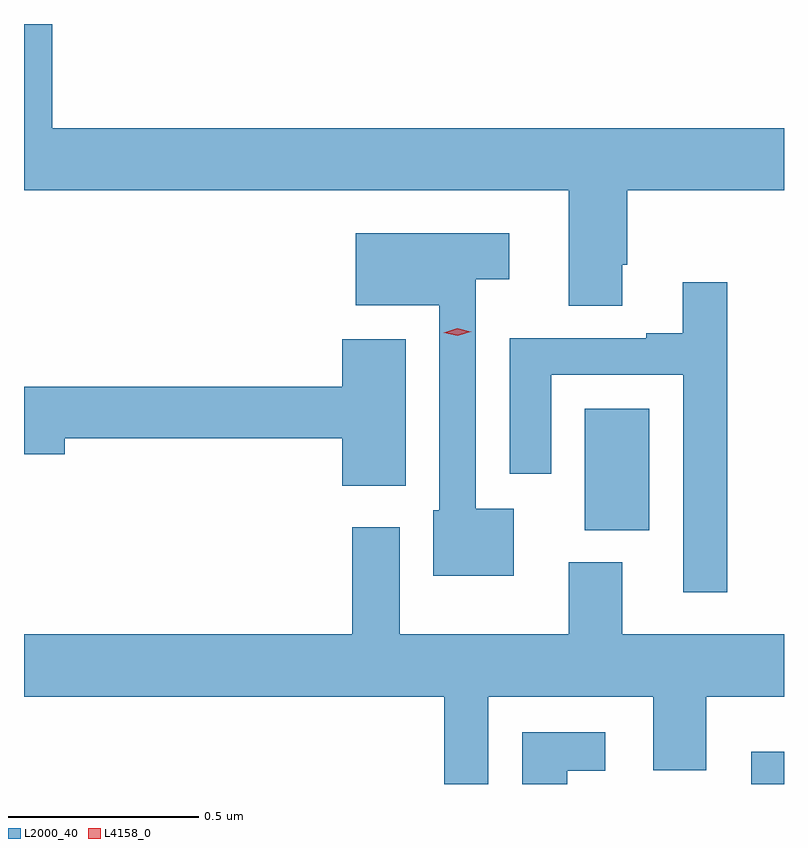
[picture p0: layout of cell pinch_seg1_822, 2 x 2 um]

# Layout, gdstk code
import gdstk
lib = gdstk.Library(unit=1e-6, precision=1e-09)
def R(c, l, rs):  # rectangles x0, y0, x1, y1
    for r in rs: c.add(gdstk.rectangle(r[:2], r[2:], *l))
def P(c, l, *ps):  # polygons
    for p in ps: c.add(gdstk.Polygon(p, *l))
L2000_40 = (2000, 40)
L4158_0 = (4158, 0)

pinch_seg1_822 = lib.new_cell('pinch_seg1_822')
R(pinch_seg1_822, L2000_40, [(409.067,576.81,409.153,576.895), (408.629,577.478,408.799,577.798)])
P(pinch_seg1_822, L2000_40, [(408.727,578.176),(408.74,578.176),(408.74,578.372),(409.153,578.372),(409.153,578.536),(407.227,578.536),(407.227,578.81),(407.153,578.81),(407.153,578.372),(408.587,578.372),(408.587,578.068),(408.727,578.068)],
  [(408.442,577.534),(408.342,577.534),(408.342,578.138),(408.43,578.138),(408.43,578.26),(408.026,578.26),(408.026,578.07),(408.246,578.07),(408.246,577.53),(408.23,577.53),(408.23,577.358),(408.442,577.358)],
  [(409.004,578.131),(408.887,578.131),(408.887,577.996),(408.791,577.996),(408.791,577.983),(408.431,577.983),(408.431,577.626),(408.541,577.626),(408.541,577.887),(408.888,577.887),(408.888,577.314),(409.004,577.314)],
  [(408.157,577.981),(407.99,577.981),(407.99,577.856),(407.153,577.856),(407.153,577.678),(407.26,577.678),(407.26,577.72),(407.99,577.72),(407.99,577.595),(408.157,577.595)],
  [(408.375,577.04),(408.809,577.04),(408.809,576.846),(408.949,576.846),(408.949,577.04),(409.153,577.04),(409.153,577.204),(408.727,577.204),(408.727,577.393),(408.587,577.393),(408.587,577.204),(408.142,577.204),(408.142,577.486),(408.017,577.486),(408.017,577.204),(407.153,577.204),(407.153,577.04),(408.259,577.04),(408.259,576.81),(408.375,576.81)],
  [(408.583,576.845),(408.682,576.845),(408.682,576.946),(408.464,576.946),(408.464,576.81),(408.583,576.81)])
P(pinch_seg1_822, L4158_0, [(408.294,577.989),(408.258,577.997),(408.258,577.998),(408.258,577.998),(408.293,578.009),(408.329,578),(408.33,578),(408.329,578)])

lib.write_gds('pinch_seg1_822.gds')
